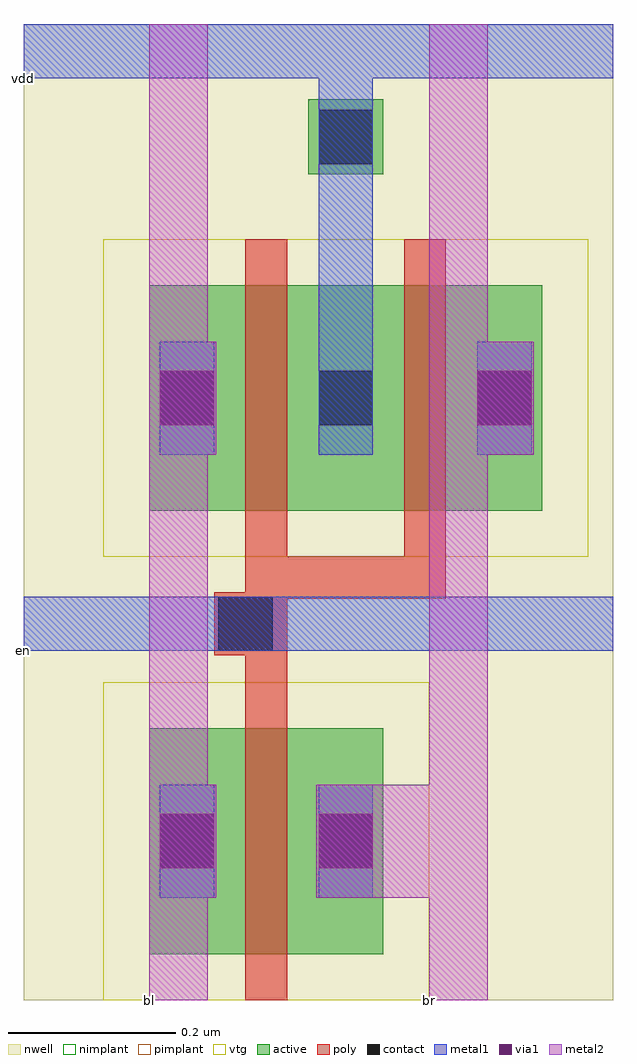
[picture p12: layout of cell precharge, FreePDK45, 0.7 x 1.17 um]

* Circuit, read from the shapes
.subckt precharge bl br en vdd
M1 br en bl vdd pfet w=0.27u l=0.05u
M2 vdd en bl vdd pfet w=0.27u l=0.05u
M3 br en vdd vdd pfet w=0.27u l=0.05u
.ends

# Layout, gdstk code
from math import pi, radians
import gdstk
lib = gdstk.Library(unit=1e-6, precision=5e-10)
def R(c, l, rs):  # rectangles x0, y0, x1, y1
    for r in rs: c.add(gdstk.rectangle(r[:2], r[2:], *l))
active = (1, 0)
nwell = (3, 0)
nimplant = (4, 0)
pimplant = (5, 0)
vtg = (6, 0)
poly = (9, 0)
contact = (10, 0)
metal1 = (11, 0)
via1 = (12, 0)
metal2 = (13, 0)

active_contact_metal1_1x = lib.new_cell('active_contact_metal1_1x1_pn')
R(active_contact_metal1_1x, active, [(0,0.0225,0.09,0.1125), (0,0.0225,0.09,0.1125)])
R(active_contact_metal1_1x, nwell, [(-0.055,-0.0325,0.145,0.1675), (-0.055,-0.0325,0.145,0.1675)])
R(active_contact_metal1_1x, pimplant, [(0,0.0225,0.09,0.1125), (0,0.0225,0.09,0.1125)])
R(active_contact_metal1_1x, contact, [(0.0125,0.035,0.0775,0.1), (0.0125,0.035,0.0775,0.1)])
R(active_contact_metal1_1x, metal1, [(0.0125,0,0.0775,0.135), (0.0125,0,0.0775,0.135)])

pmos_m1_w0_27 = lib.new_cell('pmos_m1_w0_27')
R(pmos_m1_w0_27, active, [(0,0,0.28,0.27), (0,0,0.28,0.27)])
R(pmos_m1_w0_27, nwell, [(-0.055,-0.055,0.335,0.325), (-0.055,-0.055,0.335,0.325)])
R(pmos_m1_w0_27, pimplant, [(0,0,0.28,0.27), (0,0,0.28,0.27)])
R(pmos_m1_w0_27, vtg, [(-0.055,-0.055,0.335,0.325), (-0.055,-0.055,0.335,0.325)])
R(pmos_m1_w0_27, poly, [(0.115,-0.055,0.165,0.325), (0.115,-0.055,0.165,0.325), (0.115,-0.055,0.165,0.325), (0.115,-0.055,0.165,0.325)])
R(pmos_m1_w0_27, metal1, [(0.0125,0.0675,0.0775,0.2025), (0.0125,0.0675,0.0775,0.2025), (0.2025,0.0675,0.2675,0.2025), (0.2025,0.0675,0.2675,0.2025)])
pmos_m1_w0_27.add(gdstk.Reference(active_contact_metal1_1x, (0,0.0675)))
pmos_m1_w0_27.add(gdstk.Reference(active_contact_metal1_1x, (0.19,0.0675)))
pmos_m1_w0_27.add(gdstk.Reference(active_contact_metal1_1x, (0,0.0675)))
pmos_m1_w0_27.add(gdstk.Reference(active_contact_metal1_1x, (0.19,0.0675)))
pmos_m1_w0_27.add(gdstk.Label('S', (0.0125,0.0675), layer=11, texttype=0))
pmos_m1_w0_27.add(gdstk.Label('D', (0.2025,0.0675), layer=11, texttype=0))
pmos_m1_w0_27.add(gdstk.Label('G', (0.115,-0.055), layer=9, texttype=0))
pmos_m1_w0_27.add(gdstk.Label('S', (0.0125,0.0675), layer=11, texttype=0))
pmos_m1_w0_27.add(gdstk.Label('D', (0.2025,0.0675), layer=11, texttype=0))
pmos_m1_w0_27.add(gdstk.Label('G', (0.115,-0.055), layer=9, texttype=0))

poly_contact_metal1_1x1 = lib.new_cell('poly_contact_metal1_1x1')
R(poly_contact_metal1_1x1, poly, [(0,0.03,0.075,0.105), (0,0.03,0.075,0.105)])
R(poly_contact_metal1_1x1, contact, [(0.005,0.035,0.07,0.1), (0.005,0.035,0.07,0.1)])
R(poly_contact_metal1_1x1, metal1, [(0.005,0,0.07,0.135), (0.005,0,0.07,0.135)])

c_active_contact_metal1_1x = lib.new_cell('active_contact_metal1_1x1_nn')
R(c_active_contact_metal1_1x, active, [(0,0.0225,0.09,0.1125), (0,0.0225,0.09,0.1125)])
R(c_active_contact_metal1_1x, nwell, [(-0.055,-0.0325,0.145,0.1675), (-0.055,-0.0325,0.145,0.1675)])
R(c_active_contact_metal1_1x, nimplant, [(0,0.0225,0.09,0.1125), (0,0.0225,0.09,0.1125)])
R(c_active_contact_metal1_1x, contact, [(0.0125,0.035,0.0775,0.1), (0.0125,0.035,0.0775,0.1)])
R(c_active_contact_metal1_1x, metal1, [(0.0125,0,0.0775,0.135), (0.0125,0,0.0775,0.135)])

metal1_via1_metal2_1x1 = lib.new_cell('metal1_via1_metal2_1x1')
R(metal1_via1_metal2_1x1, metal1, [(0.0025,0,0.0675,0.135), (0.0025,0,0.0675,0.135)])
R(metal1_via1_metal2_1x1, via1, [(0.0025,0.035,0.0675,0.1), (0.0025,0.035,0.0675,0.1)])
R(metal1_via1_metal2_1x1, metal2, [(0,0,0.07,0.135), (0,0,0.07,0.135)])

precharge = lib.new_cell('precharge')
R(precharge, nwell, [(0,0,0.705,1.1675), (0,0,0.705,1.1675)])
R(precharge, poly, [(0.265,0,0.315,0.53), (0.265,0,0.315,0.53), (0.265,0.48,0.505,0.53), (0.265,0.48,0.505,0.53)])
R(precharge, metal1, [(0,0.4175,0.705,0.4825), (0,0.4175,0.705,0.4825), (0.3525,0.6525,0.4175,1.1675), (0.3525,0.6525,0.4175,1.1675), (0,1.1025,0.705,1.1675), (0,1.1025,0.705,1.1675)])
R(precharge, metal2, [(0.15,0,0.22,1.1675), (0.15,0,0.22,1.1675), (0.485,0,0.555,1.1675), (0.485,0,0.555,1.1675), (0.15,0.1225,0.2275,0.2575), (0.15,0.1225,0.2275,0.2575), (0.3525,0.1225,0.555,0.2575), (0.3525,0.1225,0.555,0.2575), (0.15,0.6525,0.2275,0.7875), (0.15,0.6525,0.2275,0.7875), (0.485,0.6525,0.6075,0.7875), (0.485,0.6525,0.6075,0.7875)])
precharge.add(gdstk.Reference(pmos_m1_w0_27, (0.15,0.055)))
precharge.add(gdstk.Reference(pmos_m1_w0_27, (0.15,0.585)))
precharge.add(gdstk.Reference(pmos_m1_w0_27, (0.34,0.585)))
precharge.add(gdstk.Reference(poly_contact_metal1_1x1, (0.3325,0.4125), rotation=pi/2))
precharge.add(gdstk.Reference(c_active_contact_metal1_1x, (0.34,0.965)))
precharge.add(gdstk.Reference(metal1_via1_metal2_1x1, (0.16,0.1225)))
precharge.add(gdstk.Reference(metal1_via1_metal2_1x1, (0.35,0.1225)))
precharge.add(gdstk.Reference(metal1_via1_metal2_1x1, (0.16,0.6525)))
precharge.add(gdstk.Reference(metal1_via1_metal2_1x1, (0.54,0.6525)))
precharge.add(gdstk.Reference(pmos_m1_w0_27, (0.15,0.055)))
precharge.add(gdstk.Reference(pmos_m1_w0_27, (0.15,0.585)))
precharge.add(gdstk.Reference(pmos_m1_w0_27, (0.34,0.585)))
precharge.add(gdstk.Reference(poly_contact_metal1_1x1, (0.3325,0.4125), rotation=pi/2))
precharge.add(gdstk.Reference(c_active_contact_metal1_1x, (0.34,0.965)))
precharge.add(gdstk.Reference(metal1_via1_metal2_1x1, (0.16,0.1225)))
precharge.add(gdstk.Reference(metal1_via1_metal2_1x1, (0.35,0.1225)))
precharge.add(gdstk.Reference(metal1_via1_metal2_1x1, (0.16,0.6525)))
precharge.add(gdstk.Reference(metal1_via1_metal2_1x1, (0.54,0.6525)))
precharge.add(gdstk.Label('bl', (0.15,0), layer=13, texttype=0))
precharge.add(gdstk.Label('en', (0,0.4175), layer=11, texttype=0))
precharge.add(gdstk.Label('vdd', (0,1.1025), layer=11, texttype=0))
precharge.add(gdstk.Label('br', (0.485,0), layer=13, texttype=0))
precharge.add(gdstk.Label('bl', (0.15,0), layer=13, texttype=0))
precharge.add(gdstk.Label('en', (0,0.4175), layer=11, texttype=0))
precharge.add(gdstk.Label('vdd', (0,1.1025), layer=11, texttype=0))
precharge.add(gdstk.Label('br', (0.485,0), layer=13, texttype=0))

lib.write_gds('precharge.gds')
